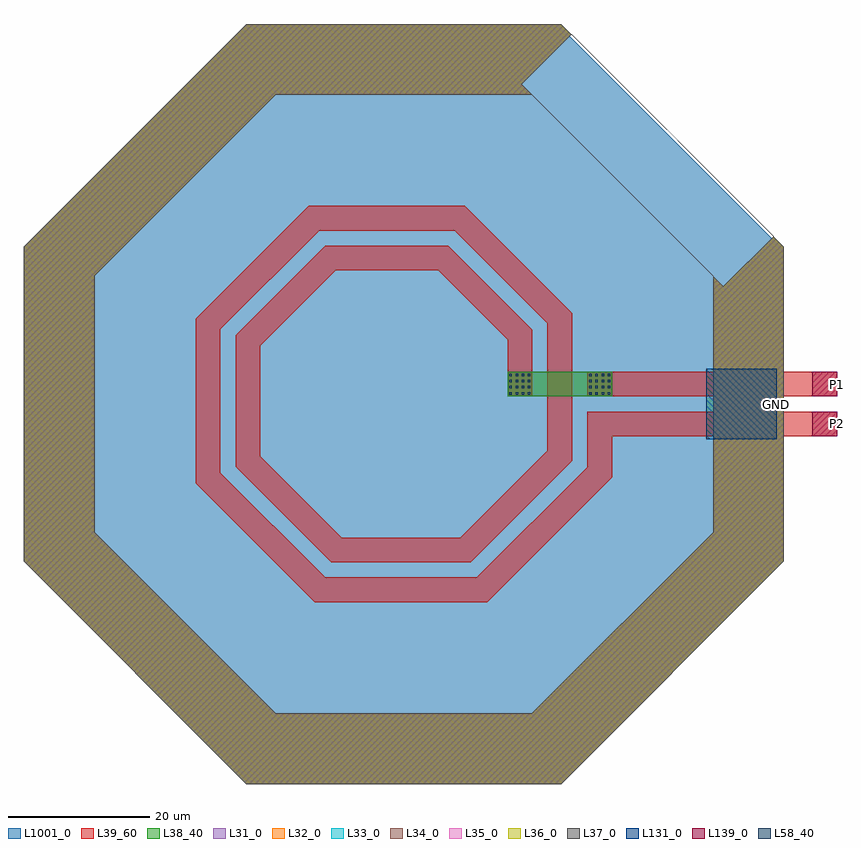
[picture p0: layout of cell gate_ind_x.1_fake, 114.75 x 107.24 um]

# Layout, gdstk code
import gdstk
lib = gdstk.Library(unit=1e-6, precision=1e-09)
def R(c, l, rs):  # rectangles x0, y0, x1, y1
    for r in rs: c.add(gdstk.rectangle(r[:2], r[2:], *l))
def A(c, l, x, y, w, h, nx, ny, dx, dy):  # array of equal rectangles
    R(c, l, [(x+i*dx, y+j*dy, x+i*dx+w, y+j*dy+h) for i in range(nx) for j in range(ny)])
def P(c, l, *ps):  # polygons
    for p in ps: c.add(gdstk.Polygon(p, *l))
L31_0 = (31, 0)
L32_0 = (32, 0)
L33_0 = (33, 0)
L34_0 = (34, 0)
L35_0 = (35, 0)
L36_0 = (36, 0)
L37_0 = (37, 0)
L38_40 = (38, 40)
L39_60 = (39, 60)
L58_40 = (58, 40)
L131_0 = (131, 0)
L139_0 = (139, 0)
L1001_0 = (1001, 0)

gate_ind_x_1_fake = lib.new_cell('gate_ind_x.1_fake')
P(gate_ind_x_1_fake, L31_0, [(45.087,16.604),(52.158,23.676),(22.211,53.622),(-22.211,53.622),(-53.622,22.211),(-53.622,-22.211),(-22.211,-53.622),(22.211,-53.622),(53.622,-22.211),(53.622,22.211),(23.676,52.158),(16.604,45.087),(43.622,18.069),(43.622,-18.069),(18.069,-43.622),(-18.069,-43.622),(-43.622,-18.069),(-43.622,18.069),(-18.069,43.622),(18.069,43.622)])
P(gate_ind_x_1_fake, L32_0, [(45.087,16.604),(52.158,23.676),(22.211,53.622),(-22.211,53.622),(-53.622,22.211),(-53.622,-22.211),(-22.211,-53.622),(22.211,-53.622),(53.622,-22.211),(53.622,22.211),(23.676,52.158),(16.604,45.087),(43.622,18.069),(43.622,-18.069),(18.069,-43.622),(-18.069,-43.622),(-43.622,-18.069),(-43.622,18.069),(-18.069,43.622),(18.069,43.622)])
P(gate_ind_x_1_fake, L33_0, [(45.087,16.604),(52.158,23.676),(22.211,53.622),(-22.211,53.622),(-53.622,22.211),(-53.622,-22.211),(-22.211,-53.622),(22.211,-53.622),(53.622,-22.211),(53.622,22.211),(23.676,52.158),(16.604,45.087),(43.622,18.069),(43.622,-18.069),(18.069,-43.622),(-18.069,-43.622),(-43.622,-18.069),(-43.622,18.069),(-18.069,43.622),(18.069,43.622)])
P(gate_ind_x_1_fake, L34_0, [(45.087,16.604),(52.158,23.676),(22.211,53.622),(-22.211,53.622),(-53.622,22.211),(-53.622,-22.211),(-22.211,-53.622),(22.211,-53.622),(53.622,-22.211),(53.622,22.211),(23.676,52.158),(16.604,45.087),(43.622,18.069),(43.622,-18.069),(18.069,-43.622),(-18.069,-43.622),(-43.622,-18.069),(-43.622,18.069),(-18.069,43.622),(18.069,43.622)])
P(gate_ind_x_1_fake, L35_0, [(45.087,16.604),(52.158,23.676),(22.211,53.622),(-22.211,53.622),(-53.622,22.211),(-53.622,-22.211),(-22.211,-53.622),(22.211,-53.622),(53.622,-22.211),(53.622,22.211),(23.676,52.158),(16.604,45.087),(43.622,18.069),(43.622,-18.069),(18.069,-43.622),(-18.069,-43.622),(-43.622,-18.069),(-43.622,18.069),(-18.069,43.622),(18.069,43.622)])
P(gate_ind_x_1_fake, L36_0, [(45.087,16.604),(52.158,23.676),(22.211,53.622),(-22.211,53.622),(-53.622,22.211),(-53.622,-22.211),(-22.211,-53.622),(22.211,-53.622),(53.622,-22.211),(53.622,22.211),(23.676,52.158),(16.604,45.087),(43.622,18.069),(43.622,-18.069),(18.069,-43.622),(-18.069,-43.622),(-43.622,-18.069),(-43.622,18.069),(-18.069,43.622),(18.069,43.622)])
P(gate_ind_x_1_fake, L37_0, [(45.087,16.604),(52.158,23.676),(22.211,53.622),(-22.211,53.622),(-53.622,22.211),(-53.622,-22.211),(-22.211,-53.622),(22.211,-53.622),(53.622,-22.211),(53.622,22.211),(23.676,52.158),(16.604,45.087),(43.622,18.069),(43.622,-18.069),(18.069,-43.622),(-18.069,-43.622),(-43.622,-18.069),(-43.622,18.069),(-18.069,43.622),(18.069,43.622)])
R(gate_ind_x_1_fake, L38_40, [(14.63,1.06,29.38,4.56)])
P(gate_ind_x_1_fake, L38_40, [(45.087,16.604),(52.158,23.676),(22.211,53.622),(-22.211,53.622),(-53.622,22.211),(-53.622,-22.211),(-22.211,-53.622),(22.211,-53.622),(53.622,-22.211),(53.622,22.211),(23.676,52.158),(16.604,45.087),(43.622,18.069),(43.622,-18.069),(18.069,-43.622),(-18.069,-43.622),(-43.622,-18.069),(-43.622,18.069),(-18.069,43.622),(18.069,43.622)])
R(gate_ind_x_1_fake, L39_60, [(25.88,-4.56,61.13,-1.06), (25.88,1.06,61.13,4.56)])
P(gate_ind_x_1_fake, L39_60, [(14.63,1.06),(18.13,1.06),(18.13,10.49),(6.275,22.345),(-11.075,22.345),(-23.755,9.67),(-23.755,-8.845),(-10.25,-22.345),(9.425,-22.345),(23.755,-8.02),(23.755,12.82),(8.605,27.97),(-13.405,27.97),(-29.38,12),(-29.38,-11.175),(-12.58,-27.97),(11.755,-27.97),(29.38,-10.35),(29.38,-2.81),(25.88,-2.81),(25.88,-8.9),(10.305,-24.47),(-11.13,-24.47),(-25.88,-9.725),(-25.88,10.55),(-11.955,24.47),(7.155,24.47),(20.255,11.37),(20.255,-6.57),(7.975,-18.845),(-8.8,-18.845),(-20.255,-7.395),(-20.255,8.22),(-9.625,18.845),(4.825,18.845),(14.63,9.04)],
  [(45.087,16.604),(52.158,23.676),(22.211,53.622),(-22.211,53.622),(-53.622,22.211),(-53.622,-22.211),(-22.211,-53.622),(22.211,-53.622),(53.622,-22.211),(53.622,22.211),(23.676,52.158),(16.604,45.087),(43.622,18.069),(43.622,-18.069),(18.069,-43.622),(-18.069,-43.622),(-43.622,-18.069),(-43.622,18.069),(-18.069,43.622),(18.069,43.622)])
A(gate_ind_x_1_fake, L58_40, 14.898, 1.332, 0.35, 0.35, 4, 4, 0.87, 0.87)
A(gate_ind_x_1_fake, L58_40, 26.148, 1.332, 0.35, 0.35, 4, 4, 0.87, 0.87)
R(gate_ind_x_1_fake, L131_0, [(42.63,-5,52.63,5)])
R(gate_ind_x_1_fake, L139_0, [(57.63,-4.56,61.13,-1.06), (57.63,1.06,61.13,4.56)])
P(gate_ind_x_1_fake, L1001_0, [(53.242,22.053),(22.053,53.242),(-22.053,53.242),(-53.242,22.053),(-53.242,-22.053),(-22.053,-53.242),(22.053,-53.242),(53.242,-22.053)],
  [(53.242,22.053),(22.053,53.242),(-22.053,53.242),(-53.242,22.053),(-53.242,-22.053),(-22.053,-53.242),(22.053,-53.242),(53.242,-22.053)],
  [(53.242,22.053),(22.053,53.242),(-22.053,53.242),(-53.242,22.053),(-53.242,-22.053),(-22.053,-53.242),(22.053,-53.242),(53.242,-22.053)],
  [(53.242,22.053),(22.053,53.242),(-22.053,53.242),(-53.242,22.053),(-53.242,-22.053),(-22.053,-53.242),(22.053,-53.242),(53.242,-22.053)],
  [(53.242,22.053),(22.053,53.242),(-22.053,53.242),(-53.242,22.053),(-53.242,-22.053),(-22.053,-53.242),(22.053,-53.242),(53.242,-22.053)],
  [(53.242,22.053),(22.053,53.242),(-22.053,53.242),(-53.242,22.053),(-53.242,-22.053),(-22.053,-53.242),(22.053,-53.242),(53.242,-22.053)],
  [(53.242,22.053),(22.053,53.242),(-22.053,53.242),(-53.242,22.053),(-53.242,-22.053),(-22.053,-53.242),(22.053,-53.242),(53.242,-22.053)],
  [(53.242,22.053),(22.053,53.242),(-22.053,53.242),(-53.242,22.053),(-53.242,-22.053),(-22.053,-53.242),(22.053,-53.242),(53.242,-22.053)],
  [(53.242,22.053),(22.053,53.242),(-22.053,53.242),(-53.242,22.053),(-53.242,-22.053),(-22.053,-53.242),(22.053,-53.242),(53.242,-22.053)])
gate_ind_x_1_fake.add(gdstk.Label('P1', (61.128,2.812), layer=139, texttype=0))
gate_ind_x_1_fake.add(gdstk.Label('P2', (61.128,-2.812), layer=139, texttype=0))
gate_ind_x_1_fake.add(gdstk.Label('GND', (52.628,0), layer=131, texttype=0))

lib.write_gds('gate_ind_x.1_fake.gds')
